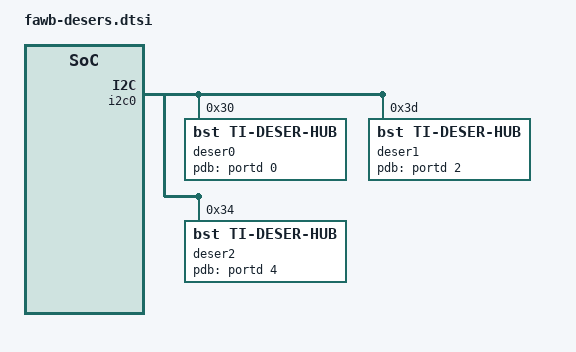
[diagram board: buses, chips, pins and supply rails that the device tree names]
/*
   default deser config for fawb
   deser0@i2c0 0x30:    ti960
   deser1@i2c2 0x3d:    ti960
   deser2@i2c2 0x3c:    ti960
*/

&i2c0 {
    #address-cells = <1>;
    #size-cells = <0>;

    deser0: ti960@30 {
        compatible = "bst,ti-deser-hub";
        type = "ti960";
        pdb-gpio = <&portd 0 0>;
        //ctl-mode = "fad-ctl";
        reg = <0x30>;
        i2c-port = <1>;
        csi2-port = <1>;
        lane-speed = <1600>;
        pinctrl-names = "default";
	    pinctrl-0 = <&des_960_1_pinctrl>;
    };

    deser1: ti960@3d {
        compatible = "bst,ti-deser-hub";
        type = "ti960";
        pdb-gpio = <&portd 2 0>;
        ctl-mode = "fad-lis";
        reg = <0x3d>;
        i2c-port = <1>;
        csi2-port = <1>;
        lane-speed = <1600>;
        pinctrl-names = "default";
	    pinctrl-0 = <&des_960_2_pinctrl>;
    };

    deser2: ti960@34 {
        compatible = "bst,ti-deser-hub";
        type = "ti960";
        pdb-gpio = <&portd 4 0>;
        ctl-mode = "fad-lis";
        reg = <0x34>;
        i2c-port = <1>;
        csi2-port = <1>;
        lane-speed = <1600>;
        pinctrl-names = "default";
	    pinctrl-0 = <&des_960_3_pinctrl>;
    };
};

#include "../common/deser.dtsi"
